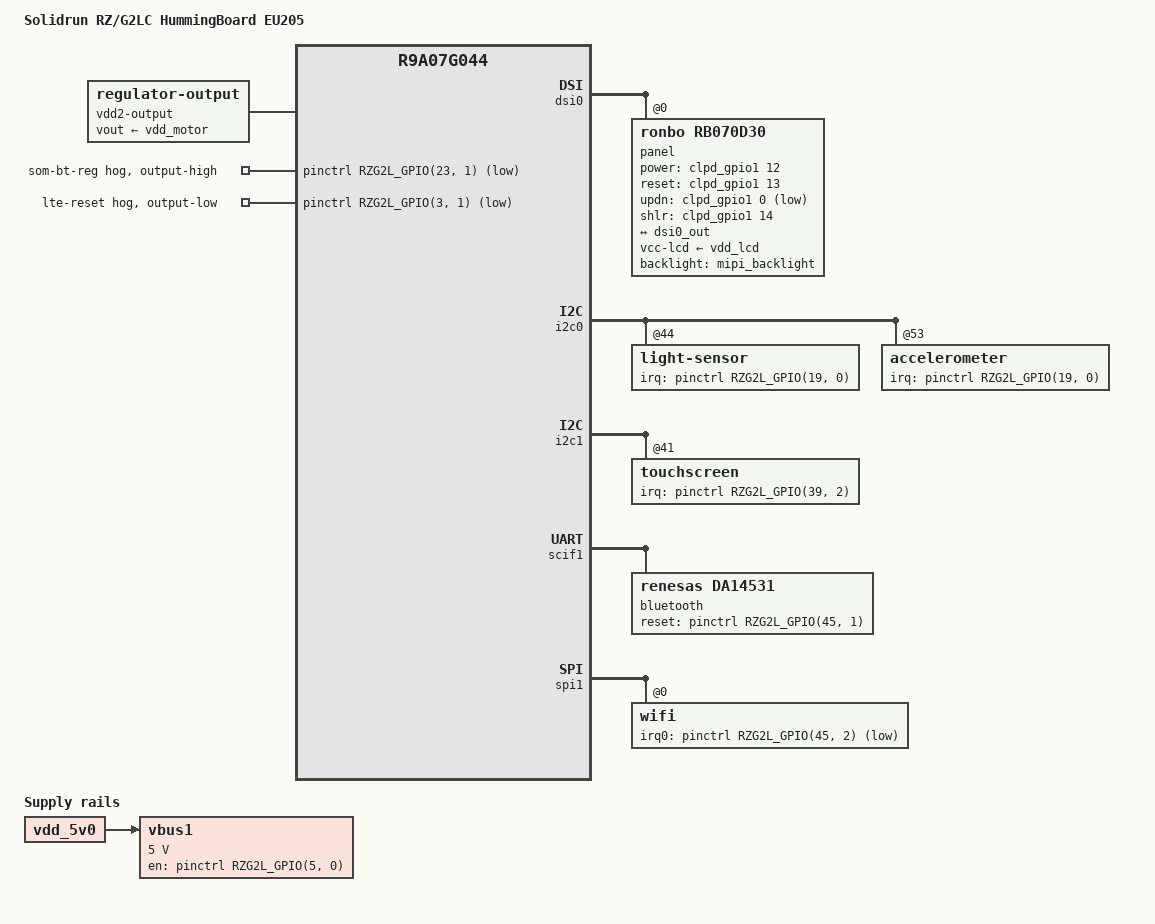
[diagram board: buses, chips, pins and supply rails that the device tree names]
// SPDX-License-Identifier: GPL-2.0+
/*
 * Copyright (C) 2025 Josua Mayer <josua@solid-run.com>
 *
 * DTS for SolidRun RZ-G2LC SoM,
 * hosted on Renesas EU205 Evaluation Board.
 *
 */

/dts-v1/;

#include "rzg2lc-sr-som.dtsi"
#include "rzg2l-hummingboard-eu205.dtsi"

/ {
	model = "Solidrun RZ/G2LC HummingBoard EU205";
	compatible = "solidrun,rz-eu205", "solidrun,rzg2lc-sr-som", "renesas,r9a07g044c2", "renesas,r9a07g044";

	vbus1: regulator-usb-vbus-1 {
		compatible = "regulator-fixed";
		model = "renesas,SLG59M1639V";
		regulator-name = "vbus-1";
		regulator-min-microvolt = <5000000>;
		regulator-max-microvolt = <5000000>;
		vin-supply = <&vdd_5v0>;
		/* pinmux automatic */
		gpios = <&pinctrl RZG2L_GPIO(5, 0) GPIO_ACTIVE_HIGH>;
		enable-active-high;
	};

	/* switch for vdd2, sourced from VIN, supplies high-voltage io controller, can be exposed on J26 with R121 */
	vdd_motor: regulator-vdd2-motor {
		/* TODO: remove R110 to power on */
	};

	vdd2-output {
		compatible = "regulator-output";
		vout-supply = <&vdd_motor>;
	};

	/* vbat voltage for lte and wifi */
	vbat_wireless: regulator-vbat-wireless {
		gpios = <&pinctrl RZG2L_GPIO(19, 1) GPIO_ACTIVE_HIGH>;
	};

	/* lcd (dsi) power 10.5V, enable J7-36 */
	vdd_lcd: regulator-vdd-video {
		regulator-always-on;
		/* TODO: remove R12 to power on */
	};
};

&dsi0 {
	#address-cells = <1>;
	#size-cells = <0>;
	status = "okay";

	panel@0 {
		/* this is not the correct driver, but close enough for proof of concept */
		compatible = "ronbo,rb070d30";
		reg = <0>;
		vcc-lcd-supply = <&vdd_lcd>;
		power-gpios = <&clpd_gpio1 12 (GPIO_ACTIVE_HIGH|GPIO_OPEN_DRAIN)>;
		/* reset is active-low but ronbo driver inverts it internally */
		reset-gpios = <&clpd_gpio1 13 (GPIO_ACTIVE_HIGH|GPIO_OPEN_DRAIN)>;
		updn-gpios = <&clpd_gpio1 0 GPIO_ACTIVE_LOW>;
		shlr-gpios = <&clpd_gpio1 14 GPIO_ACTIVE_HIGH>;
		backlight = <&mipi_backlight>;

		port {
			dsi_in_panel: endpoint {
				remote-endpoint = <&dsi0_out>;
			};
		};
	};
};

&i2c0 {
	/* ISL76683AROZ-T7A ambient (U19) @ 44 */
	light-sensor@44 {
		/* IRQ shared between accelerometer, light-sensor and Tamper input (25) */
		interrupt-parent = <&pinctrl>;
		interrupts = <RZG2L_GPIO(19, 0) IRQ_TYPE_EDGE_FALLING>;
	};

	/* ADXL345 accelerometer (U17) @ 53 */
	accelerometer@53 {
		/* IRQ shared between accelerometer, light-sensor and Tamper input (25) */
		interrupt-parent = <&pinctrl>;
		interrupts = <RZG2L_GPIO(19, 0) IRQ_TYPE_EDGE_FALLING>;
	};
};

&i2c1 {
	/* touchscreen on DSI connector */
	touchscreen@41 {
		interrupt-parent = <&pinctrl>;
		interrupts = <RZG2L_GPIO(39, 2) IRQ_TYPE_EDGE_FALLING>;
	};
};

&pinctrl {
	/* LTE conflicts with on-som bluetooth, hog bt-reg-on */
	som-bt-reg-hog {
		gpio-hog;
		gpios = <RZG2L_GPIO(23, 1) GPIO_ACTIVE_LOW>;
		output-high;
		line-name = "som-bt-reg";
	};

	/* lte reset */
	/* TODO: replace with rfkill device for Linux v6.3 or later */
	lte-reset-hog {
		gpio-hog;
		gpios = <RZG2L_GPIO(3, 1) GPIO_ACTIVE_LOW>;
		output-low;
		line-name = "lte-reset";
	};
};

&scif1 {
	pinctrl-0 = <&scif1_pins>;
	pinctrl-names = "default";
	uart-has-rtscts;
	/* disable dma to avoid kernel crashes on frame error */
	/delete-property/ dmas;
	/delete-property/ dma-names;
	status = "okay";

	bluetooth {
		compatible = "renesas,DA14531";
		reset-gpios = <&pinctrl RZG2L_GPIO(45, 1) GPIO_ACTIVE_HIGH>;
		max-speed = <1000000>;
	};
};

/* LTE */
&scif2 {
	/* conflict with on-som bluetooth (optional) */
	/delete-node/ cyw;
};

/* RS485 */
&scif3 {
	/*
	 * The SCIF hardware block does not support RS485 via
	 * it's state machine.
	 *
	 * Often UART drivers implement software-support using
	 * rts-gpios property, but SCIF driver does not.
	 *
	 * For now users should toggle the RS485 transceiver direction
	 * from userspace with GPIO P3_0: Low = RX, High = TX.
	 *
	 * Once driver receives support, RS485 may be enabled as follows:
	 *
	 * rts-gpios = <&pinctrl RZG2L_GPIO(40, 2) GPIO_ACTIVE_LOW>;
	 * uart-has-rtscts;
	 * linux,rs485-enabled-at-boot-time;
	 */
};

&spi1 {
	wifi@0 {
		irq0-gpios = <&pinctrl RZG2L_GPIO(45, 2) (GPIO_ACTIVE_LOW)>;
	};
};

&usb2_phy1 {
	vbus-supply = <&vbus1>;
};
